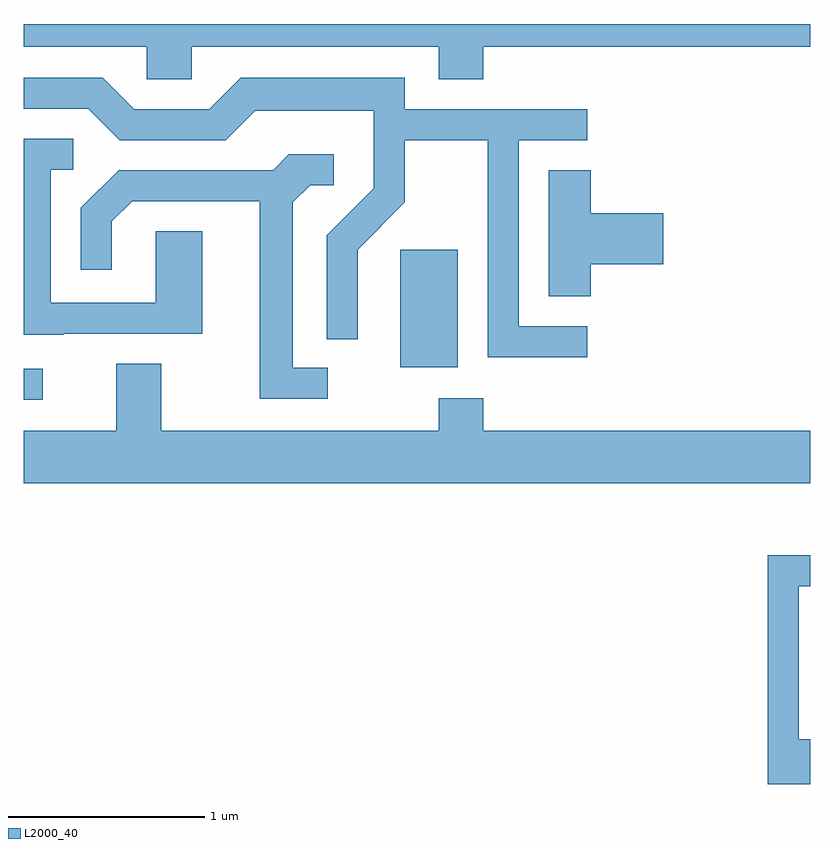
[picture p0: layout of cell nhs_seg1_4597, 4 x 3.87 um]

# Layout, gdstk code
import gdstk
lib = gdstk.Library(unit=1e-6, precision=1e-09)
def R(c, l, rs):  # rectangles x0, y0, x1, y1
    for r in rs: c.add(gdstk.rectangle(r[:2], r[2:], *l))
def P(c, l, *ps):  # polygons
    for p in ps: c.add(gdstk.Polygon(p, *l))
L2000_40 = (2000, 40)

nhs_seg1_4597 = lib.new_cell('nhs_seg1_4597')
R(nhs_seg1_4597, L2000_40, [(323.611,877.801,323.708,877.959), (325.526,877.966,325.819,878.564)])
P(nhs_seg1_4597, L2000_40, [(324.464,879.596),(325.721,879.596),(325.721,879.431),(325.949,879.431),(325.949,879.596),(327.611,879.596),(327.611,879.712),(323.611,879.712),(323.611,879.596),(324.236,879.596),(324.236,879.431),(324.464,879.431)],
  [(326.478,878.174),(326.129,878.174),(326.129,879.121),(326.478,879.121),(326.478,879.279),(325.549,879.279),(325.549,879.439),(324.714,879.439),(324.554,879.279),(324.172,879.279),(324.012,879.439),(323.611,879.439),(323.611,879.281),(323.939,879.281),(324.099,879.121),(324.637,879.121),(324.787,879.271),(325.391,879.271),(325.391,878.877),(325.151,878.637),(325.151,878.108),(325.309,878.108),(325.309,878.564),(325.549,878.804),(325.549,879.121),(325.971,879.121),(325.971,878.016),(326.478,878.016)],
  [(323.815,878.136),(324.519,878.136),(324.519,878.659),(324.281,878.659),(324.281,878.294),(323.749,878.294),(323.749,878.971),(323.863,878.971),(323.863,879.129),(323.611,879.129),(323.611,878.131),(323.815,878.131)],
  [(325.158,877.964),(324.979,877.964),(324.979,878.804),(325.067,878.891),(325.188,878.891),(325.188,879.049),(324.959,879.049),(324.879,878.969),(324.094,878.969),(323.901,878.777),(323.901,878.463),(324.059,878.463),(324.059,878.709),(324.162,878.811),(324.811,878.811),(324.811,877.806),(325.158,877.806)],
  [(326.494,878.491),(326.864,878.491),(326.864,878.749),(326.494,878.749),(326.494,878.969),(326.281,878.969),(326.281,878.326),(326.494,878.326)],
  [(327.611,877.644),(325.949,877.644),(325.949,877.809),(325.721,877.809),(325.721,877.644),(324.309,877.644),(324.309,877.984),(324.081,877.984),(324.081,877.644),(323.611,877.644),(323.611,877.376),(327.611,877.376)],
  [(327.611,876.074),(327.554,876.074),(327.554,876.851),(327.611,876.851),(327.611,877.009),(327.396,877.009),(327.396,875.846),(327.611,875.846)])

lib.write_gds('nhs_seg1_4597.gds')
